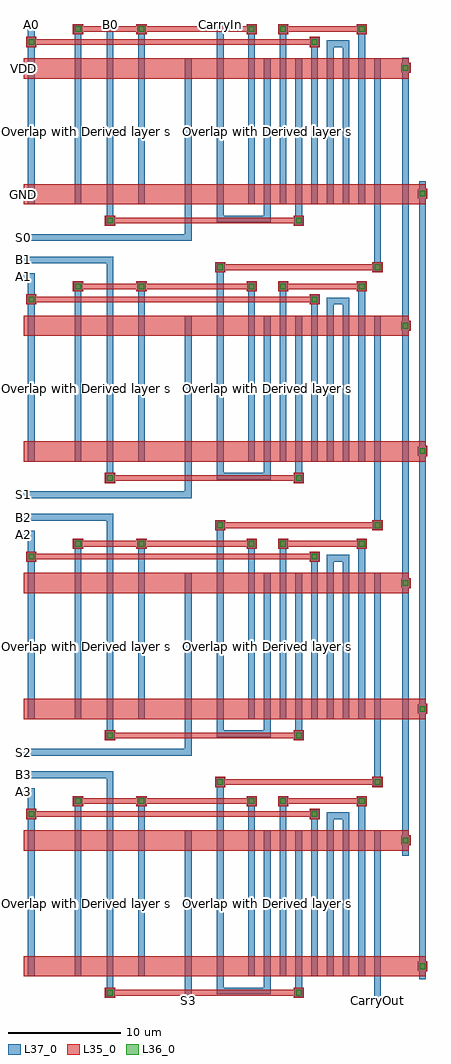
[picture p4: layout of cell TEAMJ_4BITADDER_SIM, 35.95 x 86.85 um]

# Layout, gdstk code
import gdstk
lib = gdstk.Library(unit=1e-6, precision=1e-09)
def R(c, l, rs):  # rectangles x0, y0, x1, y1
    for r in rs: c.add(gdstk.rectangle(r[:2], r[2:], *l))
def A(c, l, x, y, w, h, nx, ny, dx, dy):  # array of equal rectangles
    R(c, l, [(x+i*dx, y+j*dy, x+i*dx+w, y+j*dy+h) for i in range(nx) for j in range(ny)])
L35_0 = (35, 0)
L36_0 = (36, 0)
L37_0 = (37, 0)

via1 = lib.new_cell('VIA1')
R(via1, L35_0, [(-0.45,-0.45,0.45,0.45)])
R(via1, L36_0, [(-0.25,-0.25,0.25,0.25)])
R(via1, L37_0, [(-0.4,-0.4,0.4,0.4)])

nand21_h = lib.new_cell('NAND21_H')
R(nand21_h, L35_0, [(0,0,4.2,1.8), (0,11.2,4.2,13)])
nand21_h.add(gdstk.FlexPath([(3.5,0),(3.5,13)], 0.6, ends="flush", simple_path=True, layer=37, datatype=0))  # L37_0
nand21_h.add(gdstk.FlexPath([(2.1,13),(2.1,0)], 0.6, ends="flush", simple_path=True, layer=37, datatype=0))  # L37_0
nand21_h.add(gdstk.FlexPath([(0.7,0),(0.7,13)], 0.6, ends="flush", simple_path=True, layer=37, datatype=0))  # L37_0
nand21_h.add(gdstk.Label('NAND21', (2.1,6.5), layer=61, texttype=0))
nand21_h.add(gdstk.Label('Q', (3.5,0), layer=37, texttype=0))
nand21_h.add(gdstk.Label('A', (2.1,0), layer=37, texttype=0))
nand21_h.add(gdstk.Label('B', (0.7,0), layer=37, texttype=0))
nand21_h.add(gdstk.Label('Q', (3.5,13), layer=37, texttype=0))
nand21_h.add(gdstk.Label('A', (2.1,13), layer=37, texttype=0))
nand21_h.add(gdstk.Label('B', (0.7,13), layer=37, texttype=0))
nand21_h.add(gdstk.Label('vdd', (0,12.1), layer=35, texttype=0))
nand21_h.add(gdstk.Label('vdd', (4.2,12.1), layer=35, texttype=0))
nand21_h.add(gdstk.Label('gnd', (0,0.9), layer=35, texttype=0))
nand21_h.add(gdstk.Label('gnd', (4.2,0.9), layer=35, texttype=0))

xor21_h = lib.new_cell('XOR21_H')
R(xor21_h, L35_0, [(0,0,9.8,1.8), (0,11.2,9.8,13)])
xor21_h.add(gdstk.FlexPath([(7.7,0),(7.7,13)], 0.6, ends="flush", simple_path=True, layer=37, datatype=0))  # L37_0
xor21_h.add(gdstk.FlexPath([(4.85,13),(4.85,0)], 0.6, ends="flush", simple_path=True, layer=37, datatype=0))  # L37_0
xor21_h.add(gdstk.FlexPath([(0.7,0),(0.7,13)], 0.6, ends="flush", simple_path=True, layer=37, datatype=0))  # L37_0
xor21_h.add(gdstk.Label('XOR21', (4.9,6.5), layer=61, texttype=0))
xor21_h.add(gdstk.Label('B', (7.7,13), layer=37, texttype=0))
xor21_h.add(gdstk.Label('Q', (4.85,13), layer=37, texttype=0))
xor21_h.add(gdstk.Label('A', (0.7,13), layer=37, texttype=0))
xor21_h.add(gdstk.Label('B', (7.7,0), layer=37, texttype=0))
xor21_h.add(gdstk.Label('Q', (4.85,0), layer=37, texttype=0))
xor21_h.add(gdstk.Label('A', (0.7,0), layer=37, texttype=0))
xor21_h.add(gdstk.Label('vdd', (0,12.1), layer=35, texttype=0))
xor21_h.add(gdstk.Label('vdd', (9.8,12.1), layer=35, texttype=0))
xor21_h.add(gdstk.Label('gnd', (0,0.9), layer=35, texttype=0))
xor21_h.add(gdstk.Label('gnd', (9.8,0.9), layer=35, texttype=0))

teamj_fulladder = lib.new_cell('TEAMJ_FULLADDER')
R(teamj_fulladder, L35_0, [(3.45,9.15,19.35,9.65), (-3.55,25.05,20.75,25.55), (0.6,26.2,5.35,26.7), (6.25,26.2,15.15,26.7), (18.85,26.2,24.95,26.7)])
R(teamj_fulladder, L37_0, [(9.65,8.75,10.25,10.85), (26.5,8.75,27.1,10.85), (2.7,9.8,3.3,10.85), (19.5,9.8,20.1,10.85), (-4.3,23.85,-3.7,24.9), (-0.15,23.85,0.45,26.05), (2.7,23.85,3.3,26.9), (5.5,23.85,6.1,26.05), (12.5,23.85,13.1,26.9), (15.3,23.85,15.9,26.05), (18.1,23.85,18.7,26.05), (20.9,23.85,21.5,24.9), (22.3,23.85,22.9,25.45), (23.7,23.85,24.3,24.85), (25.1,23.85,25.7,26.05), (22.9,24.85,24.3,25.45), (-4.3,25.7,-3.7,26.9)])
teamj_fulladder.add(gdstk.FlexPath([(17,10.85),(17,9.55),(12.8,9.55),(12.8,10.85)], 0.6, ends="flush", simple_path=True, layer=37, datatype=0))  # L37_0
teamj_fulladder.add(gdstk.Reference(via1, (25.4,26.45)))
teamj_fulladder.add(gdstk.Reference(via1, (18.4,26.45)))
teamj_fulladder.add(gdstk.Reference(via1, (5.8,26.45)))
teamj_fulladder.add(gdstk.Reference(via1, (15.6,26.45)))
teamj_fulladder.add(gdstk.Reference(via1, (0.15,26.45)))
teamj_fulladder.add(gdstk.Reference(via1, (19.8,9.4)))
teamj_fulladder.add(gdstk.Reference(via1, (3,9.4)))
teamj_fulladder.add(gdstk.Reference(via1, (21.2,25.3)))
teamj_fulladder.add(gdstk.Reference(via1, (-4,25.3)))
teamj_fulladder.add(gdstk.Reference(nand21_h, (23.3,10.85)))
teamj_fulladder.add(gdstk.Reference(nand21_h, (19.1,10.85)))
teamj_fulladder.add(gdstk.Reference(nand21_h, (14.9,10.85)))
teamj_fulladder.add(gdstk.Reference(xor21_h, (5.1,10.85)))
teamj_fulladder.add(gdstk.Reference(xor21_h, (-4.7,10.85)))

teamj_4bitadder = lib.new_cell('TEAMJ_4BITADDER')
R(teamj_4bitadder, L35_0, [(23.75,-18,36.85,-17.5), (23.75,4.85,36.85,5.35), (23.75,27.8,36.85,28.3)])
R(teamj_4bitadder, L37_0, [(23,-19,23.6,-18.15), (37,-17.35,37.6,-14.25), (23,3.9,23.6,4.7), (37,5.5,37.6,8.65), (23,26.8,23.6,27.65), (37,28.45,37.6,31.55)])
teamj_4bitadder.add(gdstk.Reference(via1, (23.3,5.1)))
teamj_4bitadder.add(gdstk.Reference(via1, (37.3,5.1)))
teamj_4bitadder.add(gdstk.Reference(via1, (23.3,-17.75)))
teamj_4bitadder.add(gdstk.Reference(via1, (37.3,-17.75)))
teamj_4bitadder.add(gdstk.Reference(teamj_fulladder, (10.5,-45.9)))
teamj_4bitadder.add(gdstk.Reference(teamj_fulladder, (10.5,-23)))
teamj_4bitadder.add(gdstk.Reference(via1, (23.3,28.05)))
teamj_4bitadder.add(gdstk.Reference(via1, (37.3,28.05)))
teamj_4bitadder.add(gdstk.Reference(teamj_fulladder, (10.5,-0.1)))
teamj_4bitadder.add(gdstk.Reference(teamj_fulladder, (10.5,22.8)))
teamj_4bitadder.add(gdstk.Label('A1', (6.5,26.8), layer=37, texttype=0))
teamj_4bitadder.add(gdstk.Label('CARRY_OUT', (37.3,-37.15), layer=37, texttype=0))
teamj_4bitadder.add(gdstk.Label('S3', (20.45,-37.15), layer=37, texttype=0))
teamj_4bitadder.add(gdstk.Label('B3', (13.5,-19), layer=37, texttype=0))
teamj_4bitadder.add(gdstk.Label('A3', (6.5,-19), layer=37, texttype=0))
teamj_4bitadder.add(gdstk.Label('S2', (20.45,-14.25), layer=37, texttype=0))
teamj_4bitadder.add(gdstk.Label('B2', (13.5,3.9), layer=37, texttype=0))
teamj_4bitadder.add(gdstk.Label('A2', (6.5,3.9), layer=37, texttype=0))
teamj_4bitadder.add(gdstk.Label('S1', (20.45,8.65), layer=37, texttype=0))
teamj_4bitadder.add(gdstk.Label('CARRY_IN', (23.3,49.7), layer=37, texttype=0))
teamj_4bitadder.add(gdstk.Label('B1', (13.5,26.8), layer=37, texttype=0))
teamj_4bitadder.add(gdstk.Label('S0', (20.45,31.55), layer=37, texttype=0))
teamj_4bitadder.add(gdstk.Label('B0', (13.5,49.7), layer=37, texttype=0))
teamj_4bitadder.add(gdstk.Label('A0', (6.5,49.7), layer=37, texttype=0))

teamj_4bitadder_sim = lib.new_cell('TEAMJ_4BITADDER_SIM')
A(teamj_4bitadder_sim, L35_0, 14.7, -46.75, 3.6, 1.8, 1, 4, 0, 22.9)
A(teamj_4bitadder_sim, L35_0, 14.7, -35.55, 2.1, 1.8, 1, 4, 0, 22.9)
teamj_4bitadder_sim.add(gdstk.FlexPath([(18,-47),(18,24)], 0.6, ends="flush", simple_path=True, layer=37, datatype=0))  # L37_0
teamj_4bitadder_sim.add(gdstk.FlexPath([(16.5,-36),(16.5,35)], 0.6, ends="flush", simple_path=True, layer=37, datatype=0))  # L37_0
teamj_4bitadder_sim.add(gdstk.FlexPath([(-17.5,-30.3),(-16.8,-30.3),(-16.8,-30.7)], 0.6, ends="flush", simple_path=True, layer=37, datatype=0))  # L37_0
teamj_4bitadder_sim.add(gdstk.FlexPath([(-17.5,-28.8),(-9.8,-28.8),(-9.8,-30.7)], 0.6, ends="flush", simple_path=True, layer=37, datatype=0))  # L37_0
teamj_4bitadder_sim.add(gdstk.FlexPath([(-17.5,-26.8),(-2.85,-26.8),(-2.85,-25.95)], 0.6, ends="flush", simple_path=True, layer=37, datatype=0))  # L37_0
teamj_4bitadder_sim.add(gdstk.FlexPath([(-17.5,-5.9),(-9.8,-5.9),(-9.8,-7.8)], 0.6, ends="flush", simple_path=True, layer=37, datatype=0))  # L37_0
teamj_4bitadder_sim.add(gdstk.FlexPath([(-17.5,-7.4),(-16.8,-7.4),(-16.8,-7.8)], 0.6, ends="flush", simple_path=True, layer=37, datatype=0))  # L37_0
teamj_4bitadder_sim.add(gdstk.FlexPath([(-17.5,-3.9),(-2.85,-3.9),(-2.85,-3.05)], 0.6, ends="flush", simple_path=True, layer=37, datatype=0))  # L37_0
teamj_4bitadder_sim.add(gdstk.FlexPath([(-17.5,17),(-9.8,17),(-9.8,15.1)], 0.6, ends="flush", simple_path=True, layer=37, datatype=0))  # L37_0
teamj_4bitadder_sim.add(gdstk.FlexPath([(-17.5,15.5),(-16.8,15.5),(-16.8,15.1)], 0.6, ends="flush", simple_path=True, layer=37, datatype=0))  # L37_0
teamj_4bitadder_sim.add(gdstk.FlexPath([(-17.5,19),(-2.85,19),(-2.85,19.85)], 0.6, ends="flush", simple_path=True, layer=37, datatype=0))  # L37_0
teamj_4bitadder_sim.add(gdstk.Reference(via1, (18,-45.85)))
teamj_4bitadder_sim.add(gdstk.Reference(via1, (16.5,-34.65)))
teamj_4bitadder_sim.add(gdstk.Reference(via1, (18,-22.95)))
teamj_4bitadder_sim.add(gdstk.Reference(via1, (16.5,-11.75)))
teamj_4bitadder_sim.add(gdstk.Reference(via1, (18,0)))
teamj_4bitadder_sim.add(gdstk.Reference(via1, (16.5,11.15)))
teamj_4bitadder_sim.add(gdstk.Reference(via1, (18,22.9)))
teamj_4bitadder_sim.add(gdstk.Reference(via1, (16.5,34.1)))
teamj_4bitadder_sim.add(gdstk.Reference(teamj_4bitadder, (-23.3,-11.7)))
teamj_4bitadder_sim.add(gdstk.Label('Overlap with Derived layer subs', (-12.6,28.45), layer=63, texttype=0))
teamj_4bitadder_sim.add(gdstk.Label('Overlap with Derived layer allsubs', (-12.6,28.45), layer=63, texttype=0))
teamj_4bitadder_sim.add(gdstk.Label('Overlap with Derived layer subs', (-2.8,28.45), layer=63, texttype=0))
teamj_4bitadder_sim.add(gdstk.Label('Overlap with Derived layer allsubs', (-2.8,28.45), layer=63, texttype=0))
teamj_4bitadder_sim.add(gdstk.Label('Overlap with Derived layer subs', (4.2,28.45), layer=63, texttype=0))
teamj_4bitadder_sim.add(gdstk.Label('Overlap with Derived layer allsubs', (4.2,28.45), layer=63, texttype=0))
teamj_4bitadder_sim.add(gdstk.Label('Overlap with Derived layer subs', (8.4,28.45), layer=63, texttype=0))
teamj_4bitadder_sim.add(gdstk.Label('Overlap with Derived layer allsubs', (8.4,28.45), layer=63, texttype=0))
teamj_4bitadder_sim.add(gdstk.Label('Overlap with Derived layer subs', (12.6,28.45), layer=63, texttype=0))
teamj_4bitadder_sim.add(gdstk.Label('Overlap with Derived layer allsubs', (12.6,28.45), layer=63, texttype=0))
teamj_4bitadder_sim.add(gdstk.Label('Overlap with Derived layer subs', (-12.6,5.55), layer=63, texttype=0))
teamj_4bitadder_sim.add(gdstk.Label('Overlap with Derived layer allsubs', (-12.6,5.55), layer=63, texttype=0))
teamj_4bitadder_sim.add(gdstk.Label('Overlap with Derived layer subs', (-2.8,5.55), layer=63, texttype=0))
teamj_4bitadder_sim.add(gdstk.Label('Overlap with Derived layer allsubs', (-2.8,5.55), layer=63, texttype=0))
teamj_4bitadder_sim.add(gdstk.Label('Overlap with Derived layer subs', (4.2,5.55), layer=63, texttype=0))
teamj_4bitadder_sim.add(gdstk.Label('Overlap with Derived layer allsubs', (4.2,5.55), layer=63, texttype=0))
teamj_4bitadder_sim.add(gdstk.Label('Overlap with Derived layer subs', (8.4,5.55), layer=63, texttype=0))
teamj_4bitadder_sim.add(gdstk.Label('Overlap with Derived layer allsubs', (8.4,5.55), layer=63, texttype=0))
teamj_4bitadder_sim.add(gdstk.Label('Overlap with Derived layer subs', (12.6,5.55), layer=63, texttype=0))
teamj_4bitadder_sim.add(gdstk.Label('Overlap with Derived layer allsubs', (12.6,5.55), layer=63, texttype=0))
teamj_4bitadder_sim.add(gdstk.Label('Overlap with Derived layer subs', (-12.6,-17.35), layer=63, texttype=0))
teamj_4bitadder_sim.add(gdstk.Label('Overlap with Derived layer allsubs', (-12.6,-17.35), layer=63, texttype=0))
teamj_4bitadder_sim.add(gdstk.Label('Overlap with Derived layer subs', (-2.8,-17.35), layer=63, texttype=0))
teamj_4bitadder_sim.add(gdstk.Label('Overlap with Derived layer allsubs', (-2.8,-17.35), layer=63, texttype=0))
teamj_4bitadder_sim.add(gdstk.Label('Overlap with Derived layer subs', (4.2,-17.35), layer=63, texttype=0))
teamj_4bitadder_sim.add(gdstk.Label('Overlap with Derived layer allsubs', (4.2,-17.35), layer=63, texttype=0))
teamj_4bitadder_sim.add(gdstk.Label('Overlap with Derived layer subs', (8.4,-17.35), layer=63, texttype=0))
teamj_4bitadder_sim.add(gdstk.Label('Overlap with Derived layer allsubs', (8.4,-17.35), layer=63, texttype=0))
teamj_4bitadder_sim.add(gdstk.Label('Overlap with Derived layer subs', (12.6,-17.35), layer=63, texttype=0))
teamj_4bitadder_sim.add(gdstk.Label('Overlap with Derived layer allsubs', (12.6,-17.35), layer=63, texttype=0))
teamj_4bitadder_sim.add(gdstk.Label('Overlap with Derived layer subs', (-12.6,-40.25), layer=63, texttype=0))
teamj_4bitadder_sim.add(gdstk.Label('Overlap with Derived layer allsubs', (-12.6,-40.25), layer=63, texttype=0))
teamj_4bitadder_sim.add(gdstk.Label('Overlap with Derived layer subs', (-2.8,-40.25), layer=63, texttype=0))
teamj_4bitadder_sim.add(gdstk.Label('Overlap with Derived layer allsubs', (-2.8,-40.25), layer=63, texttype=0))
teamj_4bitadder_sim.add(gdstk.Label('Overlap with Derived layer subs', (4.2,-40.25), layer=63, texttype=0))
teamj_4bitadder_sim.add(gdstk.Label('Overlap with Derived layer allsubs', (4.2,-40.25), layer=63, texttype=0))
teamj_4bitadder_sim.add(gdstk.Label('Overlap with Derived layer subs', (8.4,-40.25), layer=63, texttype=0))
teamj_4bitadder_sim.add(gdstk.Label('Overlap with Derived layer allsubs', (8.4,-40.25), layer=63, texttype=0))
teamj_4bitadder_sim.add(gdstk.Label('Overlap with Derived layer subs', (12.6,-40.25), layer=63, texttype=0))
teamj_4bitadder_sim.add(gdstk.Label('Overlap with Derived layer allsubs', (12.6,-40.25), layer=63, texttype=0))
teamj_4bitadder_sim.add(gdstk.Label('GND', (-17.5,22.85), layer=35, texttype=0))
teamj_4bitadder_sim.add(gdstk.Label('VDD', (-17.5,34.05), layer=35, texttype=0))
teamj_4bitadder_sim.add(gdstk.Label('S2', (-17.5,-26.8), layer=37, texttype=0))
teamj_4bitadder_sim.add(gdstk.Label('S1', (-17.5,-3.9), layer=37, texttype=0))
teamj_4bitadder_sim.add(gdstk.Label('S0', (-17.5,19), layer=37, texttype=0))
teamj_4bitadder_sim.add(gdstk.Label('B3', (-17.5,-28.8), layer=37, texttype=0))
teamj_4bitadder_sim.add(gdstk.Label('B2', (-17.5,-5.9), layer=37, texttype=0))
teamj_4bitadder_sim.add(gdstk.Label('B1', (-17.5,17), layer=37, texttype=0))
teamj_4bitadder_sim.add(gdstk.Label('A3', (-17.5,-30.3), layer=37, texttype=0))
teamj_4bitadder_sim.add(gdstk.Label('A2', (-17.5,-7.4), layer=37, texttype=0))
teamj_4bitadder_sim.add(gdstk.Label('A1', (-17.5,15.5), layer=37, texttype=0))
teamj_4bitadder_sim.add(gdstk.Label('CarryOut', (14,-48.85), layer=37, texttype=0))
teamj_4bitadder_sim.add(gdstk.Label('S3', (-2.85,-48.85), layer=37, texttype=0))
teamj_4bitadder_sim.add(gdstk.Label('CarryIn', (0,38), layer=37, texttype=0))
teamj_4bitadder_sim.add(gdstk.Label('B0', (-9.8,38), layer=37, texttype=0))
teamj_4bitadder_sim.add(gdstk.Label('A0', (-16.8,38), layer=37, texttype=0))

lib.write_gds('TEAMJ_4BITADDER_SIM.gds')
